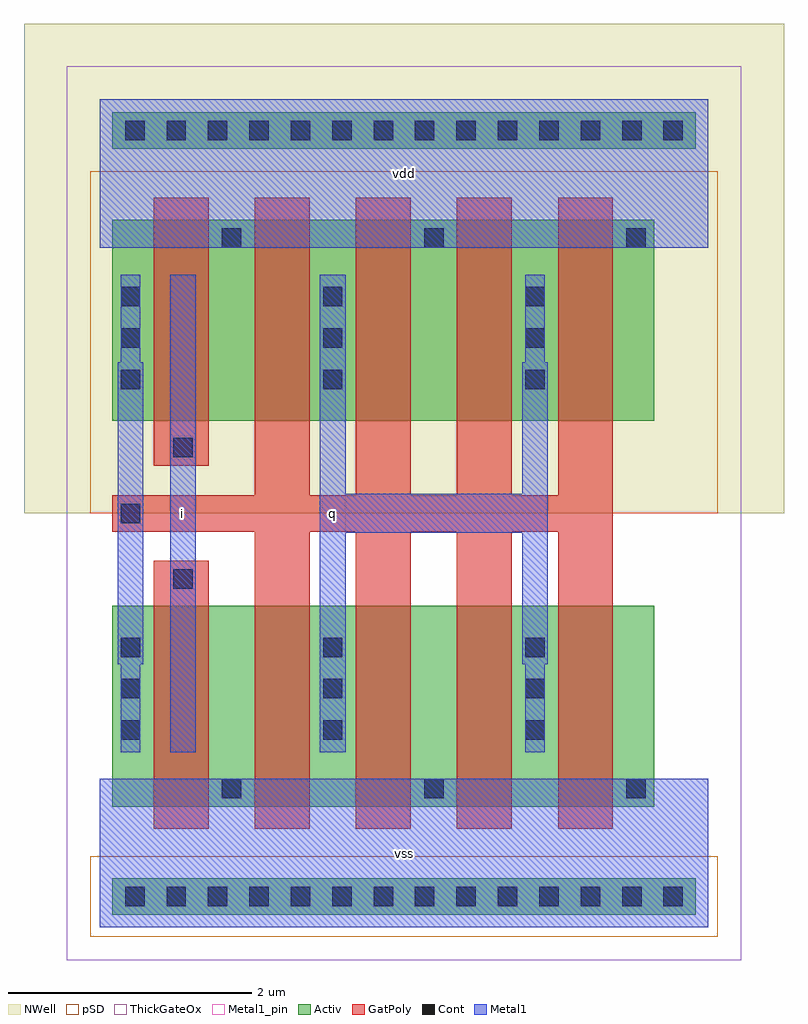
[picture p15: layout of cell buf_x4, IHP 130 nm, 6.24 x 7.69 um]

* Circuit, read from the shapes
.subckt buf_x4 i q vdd vss
XM1 vss i n1 vss sg13_hv_nmos w=1.65u l=0.45u
XM2 q n1 vss vss sg13_hv_nmos w=1.65u l=0.45u m=4
XM3 vdd i n1 vdd sg13_hv_pmos w=1.65u l=0.45u
XM4 q n1 vdd vdd sg13_hv_pmos w=1.65u l=0.45u m=4
.ends

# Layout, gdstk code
import gdstk
lib = gdstk.Library(unit=1e-6, precision=1e-09)
def R(c, l, rs):  # rectangles x0, y0, x1, y1
    for r in rs: c.add(gdstk.rectangle(r[:2], r[2:], *l))
def A(c, l, x, y, w, h, nx, ny, dx, dy):  # array of equal rectangles
    R(c, l, [(x+i*dx, y+j*dy, x+i*dx+w, y+j*dy+h) for i in range(nx) for j in range(ny)])
def P(c, l, *ps):  # polygons
    for p in ps: c.add(gdstk.Polygon(p, *l))
Activ = (1, 0)
GatPoly = (5, 0)
Cont = (6, 0)
Metal1 = (8, 0)
Metal1_pin = (8, 2)
pSD = (14, 0)
NWell = (31, 0)
ThickGateOx = (44, 0)

buf_x4 = lib.new_cell('buf_x4')
R(buf_x4, Activ, [(0.105,0.105,4.895,0.405), (0.105,0.99,4.555,2.64), (0.105,4.16,4.555,5.81), (0.105,6.395,4.895,6.695)])
R(buf_x4, GatPoly, [(0.445,0.81,0.895,3.01), (0.445,3.79,0.895,5.99)])
P(buf_x4, GatPoly, [(1.275,0.81),(1.275,3.25),(0.105,3.25),(0.105,3.55),(1.275,3.55),(1.275,5.99),(1.725,5.99),(1.725,3.55),(2.105,3.55),(2.105,5.99),(2.555,5.99),(2.555,3.55),(2.935,3.55),(2.935,5.99),(3.385,5.99),(3.385,3.55),(3.765,3.55),(3.765,5.99),(4.215,5.99),(4.215,0.81),(3.765,0.81),(3.765,3.25),(3.385,3.25),(3.385,0.81),(2.935,0.81),(2.935,3.25),(2.555,3.25),(2.555,0.81),(2.105,0.81),(2.105,3.25),(1.725,3.25),(1.725,0.81)])
A(buf_x4, Cont, 0.21, 0.175, 0.16, 0.16, 14, 2, 0.34, 6.29)
A(buf_x4, Cont, 1.005, 1.06, 0.16, 0.16, 3, 2, 1.66, 4.52)
A(buf_x4, Cont, 0.175, 1.54, 0.16, 0.16, 3, 3, 1.66, 0.34)
A(buf_x4, Cont, 0.175, 4.42, 0.16, 0.16, 3, 3, 1.66, 0.34)
R(buf_x4, Cont, [(0.605,2.78,0.765,2.94), (0.175,3.32,0.335,3.48), (0.605,3.86,0.765,4.02)])
R(buf_x4, Metal1, [(0,0,5,1.22), (0.58,1.44,0.79,5.36), (0,5.58,5,6.8)])
P(buf_x4, Metal1, [(0.175,1.44),(0.175,2.16),(0.15,2.16),(0.15,4.64),(0.175,4.64),(0.175,5.36),(0.335,5.36),(0.335,4.64),(0.36,4.64),(0.36,2.16),(0.335,2.16),(0.335,1.44)],
  [(1.81,1.44),(1.81,5.36),(2.02,5.36),(2.02,3.56),(3.47,3.56),(3.47,4.64),(3.495,4.64),(3.495,5.36),(3.655,5.36),(3.655,4.64),(3.68,4.64),(3.68,2.16),(3.655,2.16),(3.655,1.44),(3.495,1.44),(3.495,2.16),(3.47,2.16),(3.47,3.24),(2.02,3.24),(2.02,1.44)])
R(buf_x4, Metal1_pin, [(0,0,5,1.22), (0.58,1.44,0.79,5.36), (1.81,1.44,2.02,5.36), (0,5.58,5,6.8)])
R(buf_x4, pSD, [(-0.075,-0.075,5.075,0.585), (-0.075,3.4,5.075,6.21)])
R(buf_x4, NWell, [(-0.62,3.4,5.62,7.42)])
R(buf_x4, ThickGateOx, [(-0.27,-0.27,5.27,7.07)])
buf_x4.add(gdstk.Label('vdd', (2.5,6.19), layer=8, texttype=2))
buf_x4.add(gdstk.Label('vss', (2.5,0.61), layer=8, texttype=2))
buf_x4.add(gdstk.Label('i', (0.685,3.4), layer=8, texttype=2))
buf_x4.add(gdstk.Label('q', (1.915,3.4), layer=8, texttype=2))

lib.write_gds('buf_x4.gds')
